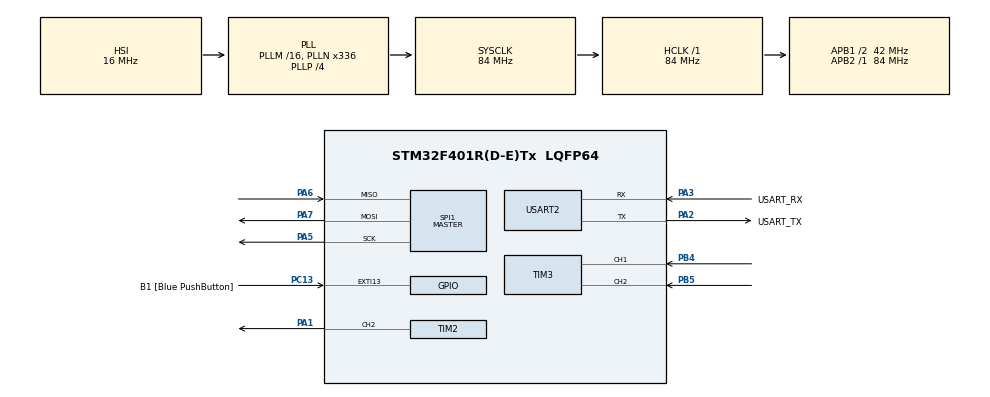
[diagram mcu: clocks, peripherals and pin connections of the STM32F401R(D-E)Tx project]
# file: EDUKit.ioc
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Mcu.Family=STM32F4
PA2.GPIO_PuPd=GPIO_NOPULL
PA6.Mode=Full_Duplex_Master
RCC.CortexFreq_Value=84000000
SPI1.VirtualType=VM_MASTER
PA14.GPIO_Label=TCK
PA3.GPIO_PuPd=GPIO_NOPULL
TIM3.EncoderMode=TIM_ENCODERMODE_TI12
PA2.GPIO_Speed=GPIO_SPEED_FREQ_LOW
TIM2.Channel-PWM\ Generation2\ CH2=TIM_CHANNEL_2
PA3.GPIO_Speed=GPIO_SPEED_FREQ_LOW
RCC.SYSCLKSource=RCC_SYSCLKSOURCE_PLLCLK
ProjectManager.StackSize=0x400
PH0\ -\ OSC_IN.Signal=RCC_OSC_IN
SPI1.Direction=SPI_DIRECTION_2LINES
RCC.HCLKFreq_Value=84000000
RCC.APB2TimFreq_Value=84000000
RCC.AHBFreq_Value=84000000
RCC.HSE_VALUE=8000000
PC13-ANTI_TAMP.Signal=GPXTI13
PC14-OSC32_IN.Mode=LSE-External-Oscillator
PA14.Mode=Serial_Wire
NVIC.TIM2_IRQn=true\:4\:0\:true\:false\:true\:true\:true
SH.S_TIM3_CH1.0=TIM3_CH1,Encoder_Interface
Mcu.Package=LQFP64
PA6.Signal=SPI1_MISO
USART2.VirtualMode=VM_ASYNC
PA2.GPIO_Label=USART_TX
PB5.GPIO_Speed=GPIO_SPEED_FREQ_VERY_HIGH
RCC.APB1TimFreq_Value=84000000
PB4.Signal=S_TIM3_CH1
PA3.Signal=USART2_RX
PA5.Mode=Full_Duplex_Master
PA2.GPIO_Mode=GPIO_MODE_AF_PP
PC15-OSC32_OUT.Mode=LSE-External-Oscillator
PA7.Mode=Full_Duplex_Master
PC13-ANTI_TAMP.GPIO_PuPd=GPIO_NOPULL
PC13-ANTI_TAMP.GPIO_Label=B1 [Blue PushButton]
PH1\ -\ OSC_OUT.Mode=HSE-External-Clock-Source
RCC.APB1CLKDivider=RCC_HCLK_DIV2
PC14-OSC32_IN.Signal=RCC_OSC32_IN
PA13.Signal=SYS_JTMS-SWDIO
PA3.Mode=Asynchronous
SH.S_TIM2_CH2.0=TIM2_CH2,PWM Generation2 CH2
PH0\ -\ OSC_IN.Mode=HSE-External-Clock-Source
ProjectManager.TargetToolchain=STM32CubeIDE
PA3.GPIO_Mode=GPIO_MODE_AF_PP
PB4.GPIO_PuPd=GPIO_PULLUP
PC15-OSC32_OUT.Signal=RCC_OSC32_OUT
PA1.Signal=S_TIM2_CH2
PA5.Signal=SPI1_SCK
SH.S_TIM3_CH2.0=TIM3_CH2,Encoder_Interface
PH1\ -\ OSC_OUT.Signal=RCC_OSC_OUT
board=NUCLEO-F401RE
RCC.VCOOutputFreq_Value=336000000
PA7.GPIO_Speed=GPIO_SPEED_FREQ_MEDIUM
NVIC.TIM3_IRQn=true\:0\:0\:false\:false\:true\:true\:true
PB4.GPIO_Speed=GPIO_SPEED_FREQ_VERY_HIGH
RCC.APB2Freq_Value=84000000
SPI1.Mode=SPI_MODE_MASTER
TIM2.Period=65535
PA13.Mode=Serial_Wire
Mcu.Name=STM32F401R(D-E)Tx
PA13.GPIO_Label=TMS
PA2.Signal=USART2_TX
RCC.48MHZClocksFreq_Value=48000000
PB3.Signal=SYS_JTDO-SWO
RCC.SYSCLKFreq_VALUE=84000000
PB5.Signal=S_TIM3_CH2
PB5.GPIO_PuPd=GPIO_PULLUP
PC13-ANTI_TAMP.GPIO_ModeDefaultEXTI=GPIO_MODE_IT_FALLING
PA14.Signal=SYS_JTCK-SWCLK
ProjectManager.HeapSize=0x200
RCC.HSI_VALUE=16000000
RCC.PLLP=RCC_PLLP_DIV4
PA5.GPIO_Speed=GPIO_SPEED_FREQ_MEDIUM
RCC.PLLQ=7
NVIC.PriorityGroup=NVIC_PRIORITYGROUP_4
RCC.PLLN=336
PA2.Mode=Asynchronous
RCC.APB1Freq_Value=42000000
PA3.GPIO_Label=USART_RX
PA7.Signal=SPI1_MOSI

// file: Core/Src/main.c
/* USER CODE BEGIN Header */
/**
  ******************************************************************************
  * @file           : main.c
  * @brief          : Main program body
  ******************************************************************************
  * Demo project for the STEVAL-EDUKIT pendulum system by @daubsi
  * This code tries to swing up the pendulum up into the upright position to let then
  * take over the existing demo code from ST to keep it upright.
  *
  * Motor Power Supply:	12V 2A Supply
  * Encoder:			LPD3806-600BM-G5-24C 600 Pulse Per Revolution Incremental Rotary Encoder
  * Stepper Motor:		NEMA-17 17HS19-2004S  Stepper Motor
  * (https://www.omc-stepperonline.com/download/17HS19-2004S1.pdf)
  *
  * Explanation of overall setup:
  * The integration of the rotary encoder to read the pendulum angle complicates the vanilla setup as the encoder
  * is read using TIM3 in quadrature encoder mode (i.e. the external signal of the encoder "drives" the timer forwards and backwards).
  * Unfortunately, the IHM01A1 code expects to get the PWM signal to drive the motor from TIM3 (via PC7, alternate function TIM3_CH2) too
  * but both configurations are of course not possible at once.
  *
  * The only importand files are main.c and stm32f4xx_hal_msp.c here.
  * Use the .ioc file to check how the peripherals are configured and initialized. This is done fully manual in the ST provided demo code but I wanted to have a proper CubeMX init file for further development.
  *
  * Thus a trick is used here:
  * We use TIM2 to create the actual PWM signal and once the signal is output we copy/replay the wave form MANUALLY through the desired pin PC7.
  * Unfortunately this also requires patching the file x_nucleo_ihm01a1_stm32f4xx.h of the BSP in order to switch TIM3 and TIM2 on all relevant code portions which is unfortunate.
  * However, this project has imported the relevant BSP files directly and is not linking them, so no generic source files are changed.
  *
  * See "void HAL_TIM_PWM_PulseFinishedCallback(TIM_HandleTypeDef *htim)" in stm32f4xx_hal_msp.c for details how this "PWM relaying" is done.
  * All peripherals are configured using CubeMX integration/.ioc file. However the IHM01A1 code seems to do this on it's own (ref file x_nucleo_ihm01a1_stm32f4xx.c's L6474_Board_SpiInit() and L6474_Board_PwmInit())
  * Presumably the functions HAL_TIM_MspPostInit(), HAL_TIM_PWM_MspInit(), HAL_SPI_MspInit(), ... in file stm32f4xx_hal_msp.c are supposed to not be really needed therefore.
  * If this assumption holds, they can be removed in a later version.
  *
  * The current version still has some shortcomings:
  * - Swing up takes rather long (it works better/faster when patched into the ST provided firmware due to the overall motor parameters used there)
  * - Crossing the upright position confuses the encoder readout and no bottom crossing is recognized anymore, in other words: Swing-up only works once. Needs fixing
  *
  * Noteworthy data is logged via USART2 via the STLink to the PC (8N1, 230400 Baud) but are also sent via ITM (Needs activiation in Debug Configuration profile in STM32CubeIDE, not described here)
  ******************************************************************************
  */
/* USER CODE END Header */
#include "main.h"

/* USER CODE BEGIN Includes */
#include <stdio.h>
#include <string.h>
#include <stdint.h>
#include <stdlib.h>
#include <stddef.h>
#include <stdbool.h>
/* USER CODE END Includes */

/* USER CODE BEGIN PD */

// We can disable some code if we just want to play around with the motor or the encoder separately.
#define MOVE_MOTOR 1
#define READ_ENCODER 1
/* USER CODE END PD */

SPI_HandleTypeDef hspi1;

TIM_HandleTypeDef htim2;
TIM_HandleTypeDef htim3;

UART_HandleTypeDef huart2;

/* USER CODE BEGIN PV */
int encoder_position = 0, max_encoder_position = 0, previous_encoder_position = 0;
bool handled_peak = false, peaked = false, zero_crossed;
uint16_t gLastError = 0;

/*
 * The following initialization struct is a little bit trial n error:
 * Overcurrent threshold (2000) should not be higher than the current your power supply is able to deliver or the motor can handle
 * Acceleration and speed settings can be played with
 */
L6474_Init_t gL6474InitParams =
{
    160,                               /// Acceleration rate in step/s2. Range: (0..+inf). - default settings: can be tweaked if needed
    160,                               /// Deceleration rate in step/s2. Range: (0..+inf). - default settings: can be tweaked if needed
    1000,                              /// Maximum speed in step/s. Range: (30..10000]. - default settings: can be tweaked if needed
    650,                               /// Minimum speed in step/s. Range: [30..10000). - default settings: can be tweaked if needed
    850,                               /// Torque regulation current in mA. (TVAL register) Range: 31.25mA to 4000mA. - we don't need more than this, the bundled motor's coils can handle up to 2A though
    2000,                              /// Overcurrent threshold (OCD_TH register). Range: 375mA to 6000mA. - maximum current in system = min(power_supply, motor's coils) -> Our power supply can only deliver 2A and we should stay below
									   /// The numbers actually have fixed values according to L6474's datasheet. But manual setting them is ok for now.
    L6474_CONFIG_OC_SD_ENABLE,         /// Overcurrent shutwdown (OC_SD field of CONFIG register).
    L6474_CONFIG_EN_TQREG_TVAL_USED,   /// Torque regulation method (EN_TQREG field of CONFIG register).
    L6474_STEP_SEL_1_16,               /// Step selection (STEP_SEL field of STEP_MODE register). - We want to have a very fine grained control
									   /// Changing this needs change of all motor commands as "Move(200)" in 1/16 mode is much less movement then in 1/1 mode for example!
    L6474_SYNC_SEL_1,                  /// Sync selection (SYNC_SEL field of STEP_MODE register). - Needs to be set to SEL_1
    L6474_FAST_STEP_12us,              /// Fall time value (T_FAST field of T_FAST register). Range: 2us to 32us.
    L6474_TOFF_FAST_8us,               /// Maximum fast decay time (T_OFF field of T_FAST register). Range: 2us to 32us.
    3,                                 /// Minimum ON time in us (TON_MIN register). Range: 0.5us to 64us.
    21,                                /// Minimum OFF time in us (TOFF_MIN register). Range: 0.5us to 64us.
    L6474_CONFIG_TOFF_044us,           /// Target Swicthing Period (field TOFF of CONFIG register).
    L6474_CONFIG_SR_320V_us,           /// Slew rate (POW_SR field of CONFIG register).
    L6474_CONFIG_INT_16MHZ,            /// Clock setting (OSC_CLK_SEL field of CONFIG register).
    (L6474_ALARM_EN_OVERCURRENT      |
     L6474_ALARM_EN_THERMAL_SHUTDOWN |
     L6474_ALARM_EN_THERMAL_WARNING  |
     L6474_ALARM_EN_UNDERVOLTAGE     |
     L6474_ALARM_EN_SW_TURN_ON       |
     L6474_ALARM_EN_WRONG_NPERF_CMD)    /// Alarm (ALARM_EN register).
};

/* USER CODE END PV */

void SystemClock_Config(void);
static void MX_GPIO_Init(void);
static void MX_USART2_UART_Init(void);
static void MX_TIM3_Init(void);
static void MX_SPI1_Init(void);
static void MX_TIM2_Init(void);
/* USER CODE BEGIN PFP */

void MyFlagInterruptHandler(void);
void Motor_Error_Handler(uint16_t error);
void ITM_SendString(char *str);
bool oppositeSigns(int x, int y);
int encoder_position_read(int *encoder_position, TIM_HandleTypeDef *htimer);

/* USER CODE END PFP */

/* USER CODE BEGIN 0 */

/*
 * Returns true if the two arguments have opposite sign, false if not
 * @retval bool
 */
bool oppositeSigns(int x, int y)
{
    return ((x ^ y) < 0);
}

/*
 * Prints a string via ITM. SWO/SWV needs to be enabled in debug configuration profile
 */
void ITM_SendString(char *ptr)
{
	while (*ptr)
	{
		ITM_SendChar(*ptr++);
	}
}

/*
 * Encoder position read (returns signed integer)
 *
 * Returns error if overflow detected
 */

int encoder_position_read(int *encoder_position, TIM_HandleTypeDef *htimer) {
	uint32_t cnt3;
	int range_error;
	cnt3 = __HAL_TIM_GET_COUNTER(htimer);

	if (cnt3 >= 32768) {
		*encoder_position = (int) (cnt3);
		*encoder_position = (*encoder_position - 65536);
	} else {
		*encoder_position = (int) (cnt3);
	}

	range_error = 0;
	if (*encoder_position <= -32768) {
		range_error = -1;
		*encoder_position = -32768;
	}
	if (*encoder_position >= 32767) {
		range_error = 1;
		*encoder_position = 32767;
	}

	/*
	 *  Detect if we passed the bottom, then re-arm peak flag
	 *  oppositeSigns returns true when we pass the bottom position
	 */
	if (oppositeSigns(*encoder_position, previous_encoder_position))
	{
		peaked = false;
		zero_crossed = true;
		ITM_SendString("Zero!");
	}

	if (!peaked) // We don't need to evaluate anymore if we hit a maximum when we're still in downward motion and didn't cross the minimum
	{
		// Check if new maximum
		if (abs(*encoder_position) >= abs(max_encoder_position))
		{
			max_encoder_position = *encoder_position;
		}
		else
		{
			// We are at the peak and disable further checks until we traversed the minimum position again
			peaked = true;
			handled_peak = false;
		}
	}

	previous_encoder_position = *encoder_position;

	return range_error;
}

/* USER CODE END 0 */

int main(void)
{
  /* USER CODE BEGIN 1 */
#if MOVE_MOTOR
	motorDir_t direction = FORWARD;
#endif
  /* USER CODE END 1 */

  /* MCU Configuration--------------------------------------------------------*/

  /* Reset of all peripherals, Initializes the Flash interface and the Systick. */
  HAL_Init();

  /* Configure the system clock */
  SystemClock_Config();

  /* USER CODE BEGIN SysInit */
  HAL_Delay(10);
  /* USER CODE END SysInit */

  /* Initialize all configured peripherals */
  MX_GPIO_Init();
  MX_USART2_UART_Init();
  MX_TIM3_Init();
  MX_SPI1_Init();
  MX_TIM2_Init();
  /* USER CODE BEGIN 2 */
#if MOVE_MOTOR
  // Start the PWM interrupt driven. This ensures HAL_TIM_PWM_PulseFinishedCallback() in stm32f4xx_hal_msp.c is called and we can proxy the PWM to the needed PWM pin for the motor
  HAL_TIM_PWM_Start_IT(&htim2, TIM_CHANNEL_2);
#endif

#if READ_ENCODER
  HAL_TIM_Encoder_Start(&htim3, TIM_CHANNEL_ALL);
#endif
  /* USER CODE END 2 */

  /* Infinite loop */
  /* USER CODE BEGIN WHILE */
  char tmp_string[32];
  //int32_t pos = 0;
#if MOVE_MOTOR
  // Initialize the board for one motor
  BSP_MotorControl_SetNbDevices(BSP_MOTOR_CONTROL_BOARD_ID_L6474, 1);

  // Set params defined above, use NULL for default values
  BSP_MotorControl_Init(BSP_MOTOR_CONTROL_BOARD_ID_L6474, &gL6474InitParams);

  // Attach handlers
  BSP_MotorControl_AttachFlagInterrupt(MyFlagInterruptHandler);
  BSP_MotorControl_AttachErrorHandler(Motor_Error_Handler);
#endif

  // Kick start
  BSP_MotorControl_Move(0, direction, 200);
  BSP_MotorControl_WaitWhileActive(0);

  while (true)
  {
#if MOVE_MOTOR

	  if (zero_crossed)
	  {
		  zero_crossed = false;
		  // Push it aka put some more kinetic energy into the pendulum
		  BSP_MotorControl_Move(0, direction, 200);
		  BSP_MotorControl_WaitWhileActive(0);
	  }
#endif

#if READ_ENCODER
	  encoder_position_read(&encoder_position, &htim3);
	  sprintf(tmp_string,"%d\r\n", encoder_position);
	  HAL_UART_Transmit(&huart2, (uint8_t*) tmp_string, strlen(tmp_string), HAL_MAX_DELAY);
	  ITM_SendString(tmp_string);

	  // We have a peak but did not handle it yet
	  if (peaked && !handled_peak)
	  {
		  // Ensure we only enter this branch one per peak
		  handled_peak = true;

		  // Reset maximum encoder value to reassess after crossing the bottom
		  max_encoder_position = 0;

		  // Switch motor direction
		  direction = direction == FORWARD ? BACKWARD : FORWARD;

		  sprintf(tmp_string,"PEAK\r\n");
		  HAL_UART_Transmit(&huart2, (uint8_t*) tmp_string, strlen(tmp_string), HAL_MAX_DELAY);
		  ITM_SendString(tmp_string);
	  }
#endif
    /* USER CODE END WHILE */

  }
}

void SystemClock_Config(void)
{
  RCC_OscInitTypeDef RCC_OscInitStruct = {0};
  RCC_ClkInitTypeDef RCC_ClkInitStruct = {0};

  /** Configure the main internal regulator output voltage
  */
  __HAL_RCC_PWR_CLK_ENABLE();
  __HAL_PWR_VOLTAGESCALING_CONFIG(PWR_REGULATOR_VOLTAGE_SCALE2);
  /** Initializes the RCC Oscillators according to the specified parameters
  * in the RCC_OscInitTypeDef structure.
  */
  RCC_OscInitStruct.OscillatorType = RCC_OSCILLATORTYPE_HSI;
  RCC_OscInitStruct.HSIState = RCC_HSI_ON;
  RCC_OscInitStruct.HSICalibrationValue = RCC_HSICALIBRATION_DEFAULT;
  RCC_OscInitStruct.PLL.PLLState = RCC_PLL_ON;
  RCC_OscInitStruct.PLL.PLLSource = RCC_PLLSOURCE_HSI;
  RCC_OscInitStruct.PLL.PLLM = 16;
  RCC_OscInitStruct.PLL.PLLN = 336;
  RCC_OscInitStruct.PLL.PLLP = RCC_PLLP_DIV4;
  RCC_OscInitStruct.PLL.PLLQ = 7;
  if (HAL_RCC_OscConfig(&RCC_OscInitStruct) != HAL_OK)
  {
    Error_Handler();
  }
  /** Initializes the CPU, AHB and APB buses clocks
  */
  RCC_ClkInitStruct.ClockType = RCC_CLOCKTYPE_HCLK|RCC_CLOCKTYPE_SYSCLK
                              |RCC_CLOCKTYPE_PCLK1|RCC_CLOCKTYPE_PCLK2;
  RCC_ClkInitStruct.SYSCLKSource = RCC_SYSCLKSOURCE_PLLCLK;
  RCC_ClkInitStruct.AHBCLKDivider = RCC_SYSCLK_DIV1;
  RCC_ClkInitStruct.APB1CLKDivider = RCC_HCLK_DIV2;
  RCC_ClkInitStruct.APB2CLKDivider = RCC_HCLK_DIV1;

  if (HAL_RCC_ClockConfig(&RCC_ClkInitStruct, FLASH_LATENCY_2) != HAL_OK)
  {
    Error_Handler();
  }
}

static void MX_SPI1_Init(void)
{

  /* SPI1 parameter configuration*/
  hspi1.Instance = SPI1;
  hspi1.Init.Mode = SPI_MODE_MASTER;
  hspi1.Init.Direction = SPI_DIRECTION_2LINES;
  hspi1.Init.DataSize = SPI_DATASIZE_8BIT;
  hspi1.Init.CLKPolarity = SPI_POLARITY_LOW;
  hspi1.Init.CLKPhase = SPI_PHASE_1EDGE;
  hspi1.Init.NSS = SPI_NSS_SOFT;
  hspi1.Init.BaudRatePrescaler = SPI_BAUDRATEPRESCALER_2;
  hspi1.Init.FirstBit = SPI_FIRSTBIT_MSB;
  hspi1.Init.TIMode = SPI_TIMODE_DISABLE;
  hspi1.Init.CRCCalculation = SPI_CRCCALCULATION_DISABLE;
  hspi1.Init.CRCPolynomial = 10;
  if (HAL_SPI_Init(&hspi1) != HAL_OK)
  {
    Error_Handler();
  }

}

static void MX_TIM2_Init(void)
{

  TIM_MasterConfigTypeDef sMasterConfig = {0};
  TIM_OC_InitTypeDef sConfigOC = {0};

  htim2.Instance = TIM2;
  htim2.Init.Prescaler = 0;
  htim2.Init.CounterMode = TIM_COUNTERMODE_UP;
  htim2.Init.Period = 65535;
  htim2.Init.ClockDivision = TIM_CLOCKDIVISION_DIV1;
  htim2.Init.AutoReloadPreload = TIM_AUTORELOAD_PRELOAD_DISABLE;
  if (HAL_TIM_PWM_Init(&htim2) != HAL_OK)
  {
    Error_Handler();
  }
  sMasterConfig.MasterOutputTrigger = TIM_TRGO_RESET;
  sMasterConfig.MasterSlaveMode = TIM_MASTERSLAVEMODE_DISABLE;
  if (HAL_TIMEx_MasterConfigSynchronization(&htim2, &sMasterConfig) != HAL_OK)
  {
    Error_Handler();
  }
  sConfigOC.OCMode = TIM_OCMODE_PWM1;
  sConfigOC.Pulse = 0;
  sConfigOC.OCPolarity = TIM_OCPOLARITY_HIGH;
  sConfigOC.OCFastMode = TIM_OCFAST_DISABLE;
  if (HAL_TIM_PWM_ConfigChannel(&htim2, &sConfigOC, TIM_CHANNEL_2) != HAL_OK)
  {
    Error_Handler();
  }
  HAL_TIM_MspPostInit(&htim2);

}

static void MX_TIM3_Init(void)
{

  /* USER CODE BEGIN TIM3_Init 0 */
	// This code initializes TIM3 to read the rotary encoder
  /* USER CODE END TIM3_Init 0 */

  TIM_Encoder_InitTypeDef sConfig = {0};
  TIM_MasterConfigTypeDef sMasterConfig = {0};

  htim3.Instance = TIM3;
  htim3.Init.Prescaler = 0;
  htim3.Init.CounterMode = TIM_COUNTERMODE_UP;
  htim3.Init.Period = 65535;
  htim3.Init.ClockDivision = TIM_CLOCKDIVISION_DIV1;
  htim3.Init.AutoReloadPreload = TIM_AUTORELOAD_PRELOAD_DISABLE;
  sConfig.EncoderMode = TIM_ENCODERMODE_TI12;
  sConfig.IC1Polarity = TIM_ICPOLARITY_RISING;
  sConfig.IC1Selection = TIM_ICSELECTION_DIRECTTI;
  sConfig.IC1Prescaler = TIM_ICPSC_DIV1;
  sConfig.IC1Filter = 0;
  sConfig.IC2Polarity = TIM_ICPOLARITY_RISING;
  sConfig.IC2Selection = TIM_ICSELECTION_DIRECTTI;
  sConfig.IC2Prescaler = TIM_ICPSC_DIV1;
  sConfig.IC2Filter = 0;
  if (HAL_TIM_Encoder_Init(&htim3, &sConfig) != HAL_OK)
  {
    Error_Handler();
  }
  sMasterConfig.MasterOutputTrigger = TIM_TRGO_RESET;
  sMasterConfig.MasterSlaveMode = TIM_MASTERSLAVEMODE_DISABLE;
  if (HAL_TIMEx_MasterConfigSynchronization(&htim3, &sMasterConfig) != HAL_OK)
  {
    Error_Handler();
  }

}

static void MX_USART2_UART_Init(void)
{

  huart2.Instance = USART2;
  huart2.Init.BaudRate = 115200;
  huart2.Init.WordLength = UART_WORDLENGTH_8B;
  huart2.Init.StopBits = UART_STOPBITS_1;
  huart2.Init.Parity = UART_PARITY_NONE;
  huart2.Init.Mode = UART_MODE_TX_RX;
  huart2.Init.HwFlowCtl = UART_HWCONTROL_NONE;
  huart2.Init.OverSampling = UART_OVERSAMPLING_16;
  if (HAL_UART_Init(&huart2) != HAL_OK)
  {
    Error_Handler();
  }

}

static void MX_GPIO_Init(void)
{
  GPIO_InitTypeDef GPIO_InitStruct = {0};

  /* GPIO Ports Clock Enable */
  __HAL_RCC_GPIOC_CLK_ENABLE();
  __HAL_RCC_GPIOH_CLK_ENABLE();
  __HAL_RCC_GPIOA_CLK_ENABLE();
  __HAL_RCC_GPIOB_CLK_ENABLE();

  /*Configure GPIO pin : B1_Pin */
  GPIO_InitStruct.Pin = B1_Pin;
  GPIO_InitStruct.Mode = GPIO_MODE_IT_FALLING;
  GPIO_InitStruct.Pull = GPIO_NOPULL;
  HAL_GPIO_Init(B1_GPIO_Port, &GPIO_InitStruct);

}

/* USER CODE BEGIN 4 */
/**
  * We can react here to messages from the IHM01A1 if needed
  *
  * @brief  This function is the User handler for the flag interrupt
  * @param  None
  * @retval None
  */
void MyFlagInterruptHandler(void)
{
  /* Get the value of the status register via the L6474 command GET_STATUS */
  uint16_t statusRegister = BSP_MotorControl_CmdGetStatus(0);

  /* Check HIZ flag: if set, power brigdes are disabled */
  if ((statusRegister & L6474_STATUS_HIZ) == L6474_STATUS_HIZ)
  {
    // HIZ state
    // Action to be customized
  }

  /* Check direction bit */
  if ((statusRegister & L6474_STATUS_DIR) == L6474_STATUS_DIR)
  {
    // Forward direction is set
    // Action to be customized
  }
  else
  {
    // Backward direction is set
    // Action to be customized
  }

  /* Check NOTPERF_CMD flag: if set, the command received by SPI can't be performed */
  /* This often occures when a command is sent to the L6474 */
  /* while it is in HIZ state */
  if ((statusRegister & L6474_STATUS_NOTPERF_CMD) == L6474_STATUS_NOTPERF_CMD)
  {
      // Command received by SPI can't be performed
     // Action to be customized
  }

  /* Check WRONG_CMD flag: if set, the command does not exist */
  if ((statusRegister & L6474_STATUS_WRONG_CMD) == L6474_STATUS_WRONG_CMD)
  {
     //command received by SPI does not exist
     // Action to be customized
  }

  /* Check UVLO flag: if not set, there is an undervoltage lock-out */
  if ((statusRegister & L6474_STATUS_UVLO) == 0)
  {
     //undervoltage lock-out
     // Action to be customized
  }

  /* Check TH_WRN flag: if not set, the thermal warning threshold is reached */
  if ((statusRegister & L6474_STATUS_TH_WRN) == 0)
  {
    //thermal warning threshold is reached
    // Action to be customized
  }

  /* Check TH_SHD flag: if not set, the thermal shut down threshold is reached */
  if ((statusRegister & L6474_STATUS_TH_SD) == 0)
  {
    //thermal shut down threshold is reached
    // Action to be customized
  }

  /* Check OCD  flag: if not set, there is an overcurrent detection */
  if ((statusRegister & L6474_STATUS_OCD) == 0)
  {
    //overcurrent detection
    // Action to be customized
  }

}

/**
  * @brief  This function is executed in case of error occurrence.
  * @param  error number of the error
  * @retval None
  */
void Motor_Error_Handler(uint16_t error)
{
  /* Backup error number */
  gLastError = error;

  /* Infinite loop */
  while(1)
  {
  }
}
/* USER CODE END 4 */

void Error_Handler(void)
{
  __disable_irq();
  while (1)
  {
  }
}

/************************ (C) COPYRIGHT STMicroelectronics *****END OF FILE****/
